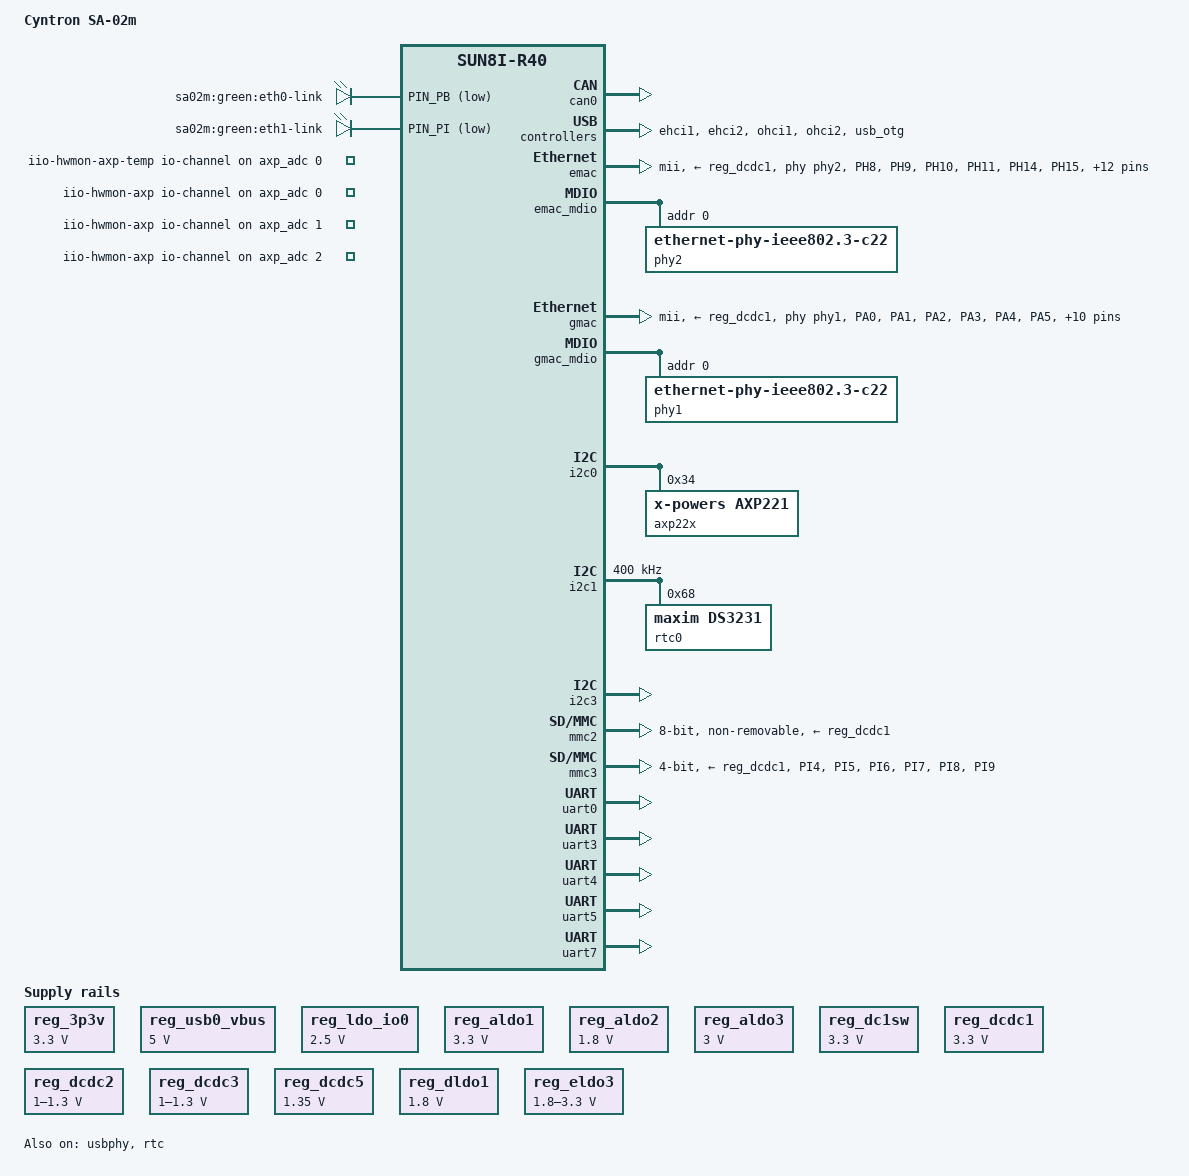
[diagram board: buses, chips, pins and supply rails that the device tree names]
// SPDX-License-Identifier: (GPL-2.0+ OR MIT)
/*
 * Device Tree Source for the ЦИНТРОН SA-02м (2Eth) industrial gateway.
 *
 *   SoC:      Allwinner A40i (sun8i-r40) — quad-core Cortex-A7 @ 1.2 GHz
 *   SoM:      Starterkit SK-A40i-NANO SODIMM (Cyntron A40i-2Eth)
 *   Carrier:  ЦИНТРОН SA-02м
 *
 * Basis: `sun8i-a40i-nano2e-none-sk.dts` from Starterkit Buildroot VM
 * (see [kernel-port/reference/sun8i-a40i-nano2e-none-sk.dts](../../../../reference/sun8i-a40i-nano2e-none-sk.dts) for the untouched original).
 *
 * Ported to wirenboard/linux (release/wb-2606/wb7-bullseye, kernel 5.10.35) with:
 *   - dropped `sun8i-r40-cpu-opp.dtsi` include (OPP table is inline in `sun8i-r40.dtsi` in the WB tree)
 *   - removed local re-definitions of `uart4_ph_pins` / `uart5_pi_pins` (identical to the in-tree groups)
 *   - added `cyntron,sa-02m` to the compatible chain so userspace matches SA-02м explicitly while
 *     still catching Starterkit-oriented probes for `sk,a40i-nano-2e`
 *
 * External I2C peripherals NOT declared here (they are controlled via /dev/i2c-* from userspace):
 *   - PCA9536 GPIO expander on i2c-2 @0x41 — driven by MPLC4 / sa02m-hw-backend
 *   - PCF8563 RTC on i2c-3 @0x51 (only on some SA-02м-2 revisions) — driven by
 *     the current userspace tooling; see [kernel-port/README.md](../../../../README.md#i2c-3-pcf8563) for the DTS enable procedure.
 *
 * Copyright (c) 2026 ЦИНТРОН
 * Copyright (c) 2022 Starterkit
 */

/dts-v1/;

#include "sun8i-r40.dtsi"

#include <dt-bindings/gpio/gpio.h>
#include <dt-bindings/pwm/pwm.h>

#define PIN_PA &pio 0
#define PIN_PB &pio 1
#define PIN_PC &pio 2
#define PIN_PD &pio 3
#define PIN_PE &pio 4
#define PIN_PF &pio 5
#define PIN_PG &pio 6
#define PIN_PH &pio 7
#define PIN_PI &pio 8

/ {
	model = "Cyntron SA-02m";
	compatible = "cyntron,sa-02m",
		     "sk,a40i-nano-2e",
		     "allwinner,sun8i-r40";

	aliases {
		ethernet0 = &emac;
		ethernet1 = &gmac;
		serial0 = &uart0;
		serial1 = &uart1;
		serial2 = &uart2;
		serial3 = &uart3;
		serial4 = &uart4;
		serial5 = &uart5;
		serial6 = &uart6;
		serial7 = &uart7;
		mmc0 = &mmc0;
		mmc1 = &mmc1;
		mmc2 = &mmc2;
		mmc3 = &mmc3;
	};

	/*
	 * chosen: NO stdout-path.
	 *
	 * On SA-02m UART0 (ttyS0) is physically wired to RS-485 line 0 (COM1).
	 * Any DTB stdout-path that resolves to serial0 would let the kernel
	 * auto-enable earlycon on UART0 and — for U-Boot proper builds that
	 * honor stdout-path — force its own banner/prompt onto that line.
	 * Both cases inject garbage into a live Modbus RTU bus.
	 *
	 * Kernel console selection is done exclusively via bootargs
	 * (console=tty1) generated by mkimage from etc/boot.cmd.sa02m.
	 * See docs/bugs/BUGLOG.md — entry "no serial debug on any ttyS during boot".
	 */
	chosen {
	};

	regulators {
		compatible = "simple-bus";
		#address-cells = <1>;
		#size-cells = <0>;

		reg_3p3v: regulator@0 {
			reg = <0>;
			compatible = "regulator-fixed";
			regulator-name = "3P3V";
			regulator-min-microvolt = <3300000>;
			regulator-max-microvolt = <3300000>;
			regulator-always-on;
		};

		/*
		 * USB VBUS is hardwired on SA-02м (no external switch).
		 * We still declare a fixed regulator so `&usbphy` can reference it
		 * uniformly; the enable-gpio branch of the original SK DTS is
		 * intentionally omitted.
		 */
		reg_usb0_vbus: regulator@1 {
			reg = <1>;
			compatible = "regulator-fixed";
			regulator-name = "usb0-vbus";
			regulator-min-microvolt = <5000000>;
			regulator-max-microvolt = <5000000>;
		};
	};

	leds {
		compatible = "gpio-leds";

		eth0_link {
			label = "sa02m:green:eth0-link";
			gpios = <PIN_PB 2 GPIO_ACTIVE_LOW>;
			default-state = "off";
			linux,default-trigger = "1c0b080.mdio-mii:00:link";
		};

		eth1_link {
			label = "sa02m:green:eth1-link";
			gpios = <PIN_PI 13 GPIO_ACTIVE_LOW>;
			default-state = "off";
			linux,default-trigger = "stmmac-1:00:link";
		};
	};

	iio-hwmon-axp-temp {
		compatible = "iio-hwmon";
		io-channels = <&axp_adc 0>;
	};

	iio-hwmon-axp {
		compatible = "iio-hwmon";
		io-channels = <&axp_adc 0>, <&axp_adc 1>, <&axp_adc 2>;
	};
};

&can0 {
	pinctrl-0 = <&can_pa_pins>;
	pinctrl-names = "default";
	status = "okay";
};

/*
 * NOTE: mainline / WB r40 tree in kernel 5.10.35 does not yet expose the
 * A40i built-in audio codec as a &codec label. Starterkit DTS enables it
 * for headphone output, but SA-02м does not route audio out — codec block
 * is dropped here. When A40i codec is added upstream (already in
 * sun4i-a10-codec bindings for 6.1+), we can re-add:
 *   &codec { status = "okay"; };
 */

&cpu0 {
	cpu-supply = <&reg_dcdc2>;
};

&ehci1 { status = "okay"; };
&ehci2 { status = "okay"; };
&ohci1 { status = "okay"; };
&ohci2 { status = "okay"; };
&usb_otg { status = "okay"; };

&usbphy {
	usb0_vbus-supply = <&reg_usb0_vbus>;
	usb1_vbus-supply = <&reg_usb0_vbus>;
	usb2_vbus-supply = <&reg_usb0_vbus>;
	status = "okay";
};

&emac {
	pinctrl-names = "default";
	pinctrl-0 = <&emac_ph_pins>;
	phy-handle = <&phy2>;
	phy-mode = "mii";
	phy-supply = <&reg_dcdc1>;
	status = "okay";
};

&emac_mdio {
	status = "okay";

	phy2: ethernet-phy@0 {
		compatible = "ethernet-phy-ieee802.3-c22";
		reg = <0>;

		reset-gpios = <PIN_PH 12 GPIO_ACTIVE_LOW>;
		reset-assert-us = <10000>;
		reset-deassert-us = <100000>;

		icplus,select-rx-error;
		status = "okay";
	};
};

&gmac {
	pinctrl-names = "default";
	pinctrl-0 = <&gmac_mii_pins_reduced>;
	phy-handle = <&phy1>;
	phy-mode = "mii";
	phy-supply = <&reg_dcdc1>;
	status = "okay";
};

&gmac_mdio {
	phy1: ethernet-phy@0 {
		compatible = "ethernet-phy-ieee802.3-c22";
		reg = <0>;

		reset-gpios = <PIN_PH 13 GPIO_ACTIVE_LOW>;
		reset-assert-us = <10000>;
		reset-deassert-us = <100000>;

		icplus,select-rx-error;
		status = "okay";
	};
};

&i2c0 {
	status = "okay";

	axp22x: pmic@34 {
		compatible = "x-powers,axp221";
		reg = <0x34>;
		interrupt-parent = <&nmi_intc>;
		interrupts = <0 IRQ_TYPE_LEVEL_LOW>;
	};
};

&i2c1 {
	status = "okay";
	clock-frequency = <400000>;

	/*
	 * DS3231 (Maxim), battery-backed I2C RTC.
	 * IMPORTANT: `compatible` MUST be a null-separated list of *individual*
	 * compatible strings, NOT one joined "maxim,ds3231,d1307" string —
	 * иначе kernel не найдёт ни одной подходящей записи в OF match table
	 * драйвера rtc-ds1307 и /dev/rtcN не появится (см. `dmesg | grep rtc`).
	 *
	 * Kernel driver rtc-ds1307 (CONFIG_RTC_DRV_DS1307=y) поддерживает оба
	 * OF-compatible: "maxim,ds3231" (использует ds_3231 variant с термометром
	 * и осцилляторным флагом OSF) и "dallas,ds1307" (совместимый режим).
	 */
	rtc0: rtc@68 {
		compatible = "maxim,ds3231", "dallas,ds1307";
		reg = <0x68>;
	};
};

/*
 * i2c-2 hosts the PCA9536 GPIO expander (Alarm LED, DO1, Beeper, spare) on
 * SA-02м. We DO NOT declare it as a DT node — userspace (MPLC4, sa02m-hw-backend,
 * mqtt-sa02m-hw) drives it via /dev/i2c-2 raw transactions. Adding the kernel
 * driver here would race with those daemons and break the current stack.
 * Keep the controller enabled (default from `sun8i-r40.dtsi`) but no children.
 *
 * The known "IRQ storm on boot" caused by PCA9536 holding SDA low is worked
 * around at userspace startup via `etc/sa02m-i2c2-unbind.sh` + udev rule.
 */

&i2c3 {
	status = "okay";

	/*
	 * Uncomment on SA-02м revisions that ship PCF8563 on I2C-3 @0x51.
	 * When enabled, also disable/renumber `rtc0: rtc@68` on i2c1 to
	 * keep /dev/rtc0 pointing to the PCF8563 (Wiren Board convention).
	 *
	 * pcf8563: rtc@51 {
	 *     compatible = "nxp,pcf8563";
	 *     reg = <0x51>;
	 * };
	 */
};

&mmc2 {
	vmmc-supply = <&reg_dcdc1>;
	vqmmc-supply = <&reg_aldo2>;
	bus-width = <8>;
	non-removable;
	cap-mmc-hw-reset;
	mmc-hs200-1_8v;
	status = "okay";
};

&mmc3 {
	pinctrl-names = "default";
	pinctrl-0 = <&mmc3_pins>;
	bus-width = <4>;
	/* cd-gpios = <PIN_PI 13 GPIO_ACTIVE_LOW>; — PI13 занят eth1_link на SA-02м */
	vmmc-supply = <&reg_dcdc1>;
	vqmmc-supply = <&reg_dcdc1>;
	no-1-8-v;
	status = "okay";
};

&pio {
	vcc-pa-supply = <&reg_dcdc1>;
	vcc-pc-supply = <&reg_aldo2>;	/* eMMC VDDIO, SoM Wi-Fi GPIOs */
	vcc-pd-supply = <&reg_dcdc1>;
	vcc-pe-supply = <&reg_eldo3>;
	vcc-pf-supply = <&reg_dcdc1>;
	vcc-pg-supply = <&reg_dcdc1>;	/* microSD 3v3 */
	vcc-ph-supply = <&reg_dcdc1>;	/* VCC-IO */
	vcc-pi-supply = <&reg_dcdc1>;	/* VCC-IO */

	emac_ph_pins: emac-ph-pins {
		pins = "PH8", "PH9", "PH10", "PH11",
		       "PH14", "PH15", "PH16", "PH17",
		       "PH18", "PH19", "PH20", "PH21",
		       "PH22", "PH23", "PH24", "PH25",
		       "PH26", "PH27";
		drive-strength = <40>;
		function = "emac";
	};

	/* GMAC without ECOL/ETXERR — SA-02м/SK-A40i-NANO wiring only routes 16 lines */
	gmac_mii_pins_reduced: gmac-mii-pins-reduced {
		pins = "PA0", "PA1", "PA2", "PA3",
		       "PA4", "PA5", "PA6", "PA7",
		       "PA8", "PA9", "PA10", "PA11",
		       "PA12", "PA13", "PA14", "PA15";
		drive-strength = <40>;
		function = "gmac";
	};

	mmc3_pins: mmc3-pins {
		pins = "PI4", "PI5", "PI6",
		       "PI7", "PI8", "PI9";
		function = "mmc3";
		drive-strength = <30>;
		bias-pull-up;
	};
};

#include "axp22x.dtsi"

&reg_ldo_io0 {
	regulator-min-microvolt = <2500000>;
	regulator-max-microvolt = <2500000>;
	regulator-name = "vdd2v5-sata";
	status = "okay";
};

/* ALDO1: 0.7V~3.3V, 300 mA — VCC-TVIN, VCC-TVOUT */
&reg_aldo1 {
	regulator-min-microvolt = <3300000>;
	regulator-max-microvolt = <3300000>;
	regulator-name = "tvd";
};

/* ALDO2: 0.7V~3.3V, 300 mA — eMMC VDDQ, VCC-PC */
&reg_aldo2 {
	regulator-always-on;
	regulator-min-microvolt = <1800000>;
	regulator-max-microvolt = <1800000>;
	regulator-name = "aldo2";
};

/* ALDO3: 0.7V~3.3V, 200 mA — VCC-PLL, AVCC */
&reg_aldo3 {
	regulator-always-on;
	regulator-min-microvolt = <3000000>;
	regulator-max-microvolt = <3000000>;
	regulator-init-microvolt = <3000000>;
	regulator-name = "avcc-pll";
};

/* DC1SW: DCDC1 switch → GMAC PHY 3v3 */
&reg_dc1sw {
	regulator-min-microvolt = <3300000>;
	regulator-max-microvolt = <3300000>;
	regulator-name = "vcc-gmac-phy";
};

/* DCDC1: 3.3V — VCC-IO для процессора, периферии, eMMC, ETH PHY */
&reg_dcdc1 {
	regulator-always-on;
	regulator-min-microvolt = <3300000>;
	regulator-max-microvolt = <3300000>;
	regulator-name = "vcc-3v3";
};

/* DCDC2: 1.0–1.3V — CPU core */
&reg_dcdc2 {
	regulator-always-on;
	regulator-min-microvolt = <1000000>;
	regulator-max-microvolt = <1300000>;
	regulator-name = "vdd-cpu";
};

/* DCDC3: 1.0–1.3V — CPU vdd-sys */
&reg_dcdc3 {
	regulator-always-on;
	regulator-min-microvolt = <1000000>;
	regulator-max-microvolt = <1300000>;
	regulator-name = "vdd-sys";
};

/* DCDC5: 1.35V — DDR3 */
&reg_dcdc5 {
	regulator-always-on;
	regulator-min-microvolt = <1350000>;
	regulator-max-microvolt = <1350000>;
	regulator-name = "vcc-dram";
};

/* DLDO1: 1.8V — microSD reference */
&reg_dldo1 {
	regulator-min-microvolt = <1800000>;
	regulator-max-microvolt = <1800000>;
	regulator-name = "vcc-sd-alt";
	regulator-always-on;
};

/* ELDO3: 1.8–3.3V — VCC-PE (default 3.3V) */
&reg_eldo3 {
	regulator-min-microvolt = <1800000>;
	regulator-max-microvolt = <3300000>;
	regulator-init-microvolt = <3300000>;
	regulator-always-on;
	regulator-name = "vcc-pe";
};

&uart0 {
	pinctrl-names = "default";
	pinctrl-0 = <&uart0_pb_pins>;
	status = "okay";
};

&uart3 {
	pinctrl-names = "default";
	pinctrl-0 = <&uart3_pg_pins>;
	status = "okay";
};

&uart4 {
	pinctrl-names = "default";
	pinctrl-0 = <&uart4_ph_pins>;
	/*
	 * SA-02м RS-485 transceivers have auto-DE — leave rts-gpios/RS-485 mode
	 * disabled here so userspace can override via TIOCSRS485 when needed.
	 */
	status = "okay";
};

&uart5 {
	pinctrl-names = "default";
	pinctrl-0 = <&uart5_pi_pins>;
	status = "okay";
};

&uart7 {
	pinctrl-names = "default";
	pinctrl-0 = <&uart7_pi_pins>;
	status = "okay";
};

&rtc {
	status = "okay";
};
